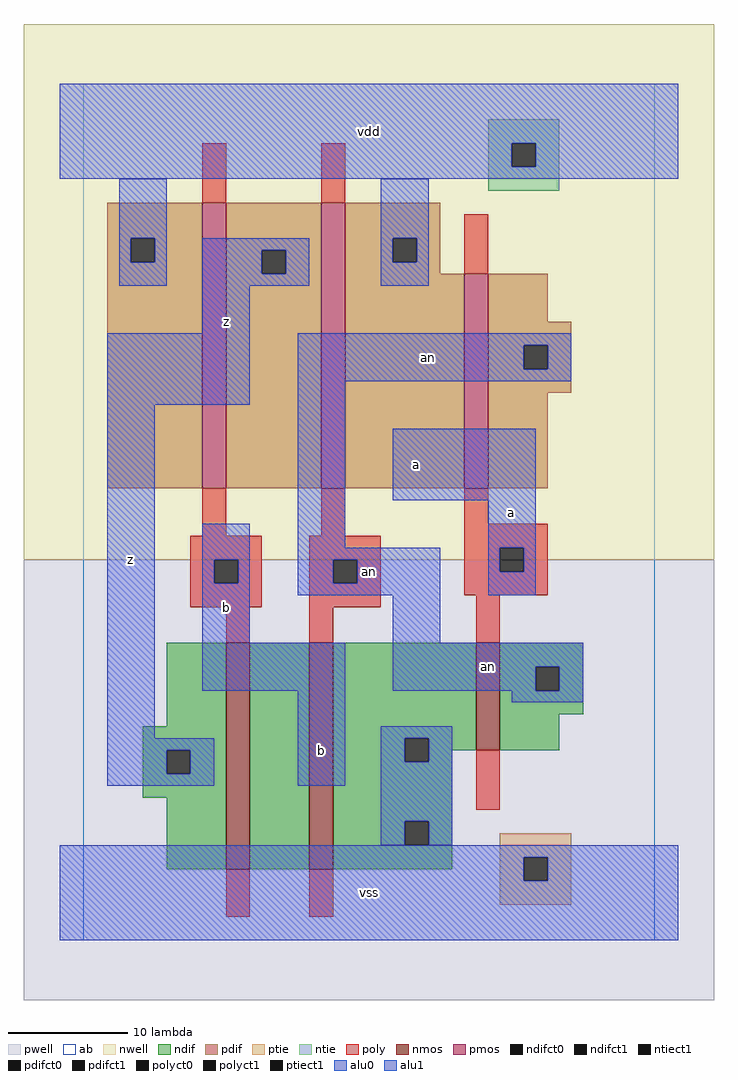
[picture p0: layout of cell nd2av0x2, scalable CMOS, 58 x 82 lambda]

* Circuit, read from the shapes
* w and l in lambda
.subckt nd2av0x2 a an b vdd vss z
M1 n1 b z vss nfet w=19 l=2
M2 vss an n1 vss nfet w=19 l=2
M3 an a vss vss nfet w=9 l=2
M4 z b vdd vdd pfet w=24 l=2
M5 vdd an z vdd pfet w=24 l=2
M6 an a vdd vdd pfet w=18 l=2
.ends

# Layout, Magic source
magic
tech scmos
<< ab >>
rect 0 0 48 72
<< nwell >>
rect -5 32 53 77
<< pwell >>
rect -5 -5 53 32
<< poly >>
rect 10 62 12 67
rect 20 62 22 67
rect 32 56 34 61
rect 10 34 12 38
rect 20 34 22 38
rect 32 35 34 38
rect 9 32 15 34
rect 9 30 11 32
rect 13 30 15 32
rect 9 28 15 30
rect 19 32 25 34
rect 19 30 21 32
rect 23 30 25 32
rect 19 28 25 30
rect 32 33 39 35
rect 32 31 35 33
rect 37 31 39 33
rect 32 29 39 31
rect 12 25 14 28
rect 19 25 21 28
rect 33 25 35 29
rect 33 11 35 16
rect 12 2 14 6
rect 19 2 21 6
<< ndif >>
rect 7 18 12 25
rect 5 16 12 18
rect 5 14 7 16
rect 9 14 12 16
rect 5 12 12 14
rect 7 6 12 12
rect 14 6 19 25
rect 21 17 33 25
rect 21 15 27 17
rect 29 16 33 17
rect 35 23 42 25
rect 35 21 38 23
rect 40 21 42 23
rect 35 19 42 21
rect 35 16 40 19
rect 29 15 31 16
rect 21 10 31 15
rect 21 8 27 10
rect 29 8 31 10
rect 21 6 31 8
<< pdif >>
rect 2 59 10 62
rect 2 57 4 59
rect 6 57 10 59
rect 2 38 10 57
rect 12 58 20 62
rect 12 56 15 58
rect 17 56 20 58
rect 12 38 20 56
rect 22 59 30 62
rect 22 57 26 59
rect 28 57 30 59
rect 22 56 30 57
rect 22 38 32 56
rect 34 52 39 56
rect 34 50 41 52
rect 34 48 37 50
rect 39 48 41 50
rect 34 46 41 48
rect 34 38 39 46
<< alu1 >>
rect -2 67 50 72
rect -2 65 36 67
rect 38 65 50 67
rect -2 64 50 65
rect 10 58 19 59
rect 10 56 15 58
rect 17 56 19 58
rect 10 55 19 56
rect 10 51 14 55
rect 2 45 14 51
rect 2 17 6 45
rect 10 32 14 35
rect 10 30 11 32
rect 13 30 14 32
rect 10 25 14 30
rect 26 37 38 43
rect 34 33 38 37
rect 34 31 35 33
rect 37 31 38 33
rect 34 29 38 31
rect 10 21 22 25
rect 2 16 11 17
rect 2 14 7 16
rect 9 14 11 16
rect 2 13 11 14
rect 18 13 22 21
rect -2 7 50 8
rect -2 5 37 7
rect 39 5 50 7
rect -2 0 50 5
<< ptie >>
rect 35 7 41 9
rect 35 5 37 7
rect 39 5 41 7
rect 35 3 41 5
<< ntie >>
rect 34 67 40 69
rect 34 65 36 67
rect 38 65 40 67
rect 34 63 40 65
<< nmos >>
rect 12 6 14 25
rect 19 6 21 25
rect 33 16 35 25
<< pmos >>
rect 10 38 12 62
rect 20 38 22 62
rect 32 38 34 56
<< polyct0 >>
rect 21 30 23 32
<< polyct1 >>
rect 11 30 13 32
rect 35 31 37 33
<< ndifct0 >>
rect 27 15 29 17
rect 38 21 40 23
rect 27 8 29 10
<< ndifct1 >>
rect 7 14 9 16
<< ntiect1 >>
rect 36 65 38 67
<< ptiect1 >>
rect 37 5 39 7
<< pdifct0 >>
rect 4 57 6 59
rect 26 57 28 59
rect 37 48 39 50
<< pdifct1 >>
rect 15 56 17 58
<< alu0 >>
rect 3 59 7 64
rect 25 59 29 64
rect 3 57 4 59
rect 6 57 7 59
rect 3 55 7 57
rect 25 57 26 59
rect 28 57 29 59
rect 25 55 29 57
rect 18 50 41 51
rect 18 48 37 50
rect 39 48 41 50
rect 18 47 41 48
rect 18 33 22 47
rect 18 32 30 33
rect 18 30 21 32
rect 23 30 30 32
rect 18 29 30 30
rect 26 25 30 29
rect 26 23 42 25
rect 26 21 38 23
rect 40 21 42 23
rect 36 20 42 21
rect 25 17 31 18
rect 25 15 27 17
rect 29 15 31 17
rect 25 10 31 15
rect 25 8 27 10
rect 29 8 31 10
<< labels >>
rlabel alu0 34 23 34 23 6 an
rlabel alu0 24 31 24 31 6 an
rlabel alu0 29 49 29 49 6 an
rlabel alu1 4 32 4 32 6 z
rlabel alu1 20 16 20 16 6 b
rlabel alu1 12 28 12 28 6 b
rlabel alu1 12 52 12 52 6 z
rlabel alu1 24 4 24 4 6 vss
rlabel alu1 28 40 28 40 6 a
rlabel alu1 24 68 24 68 6 vdd
rlabel alu1 36 36 36 36 6 a
<< end >>
